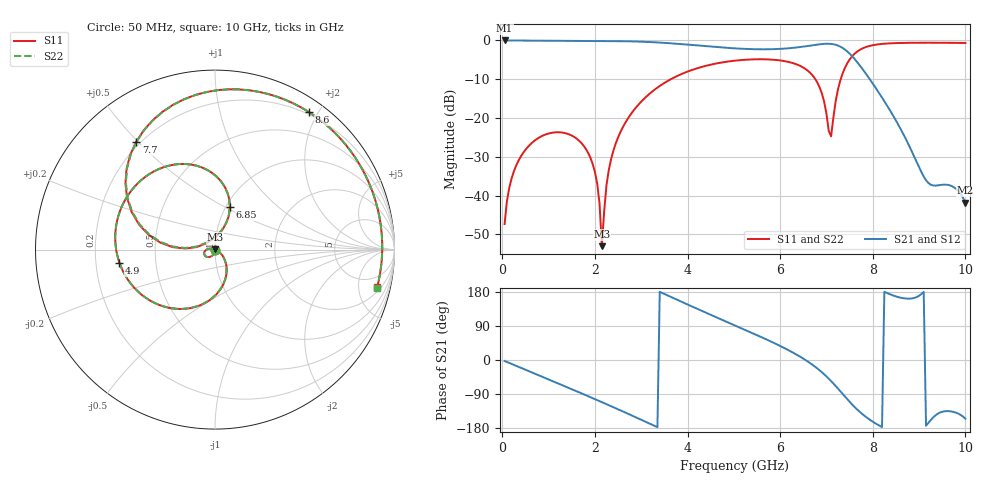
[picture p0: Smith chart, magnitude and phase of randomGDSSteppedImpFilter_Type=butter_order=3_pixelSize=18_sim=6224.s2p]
! freq	dB(S11)	phase(S11)	dB(S12)	phase(S12)
!  dB(S21)	phase(S21)	dB(S22)	phase(S22)
!S-par simulation data
#  GHz  S  DB  R 50
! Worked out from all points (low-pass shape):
!   200 points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, 50 MHz to 10 GHz, reference 50 ohm
!   highest |S21| = 0.00 dB at 50 MHz (marker M1); lowest = -41.8 dB at 10 GHz (marker M2)
!   |S21| within 3 dB of the highest: start of sweep to 7.464 GHz
!   lowest |S11| = -53.0 dB at 2.15 GHz (marker M3), VSWR 1.00, Z = 50 + j0.222 ohm
!   |S11| at or under -10 dB: start of sweep to 3.639 GHz; 6.76 GHz to 7.308 GHz (547.8 MHz wide, 7.79 % of centre)
!   |S22| runs from -55.3 to -0.6 dB; largest |S21 - S12| = 0
!   S11 on the Smith chart (normalised r, x): 50 MHz: 1.00, -0.01; 4.9 GHz: 0.30, -0.06; 6.85 GHz: 1.05, +0.53; 7.7 GHz: 0.18, +0.49; 8.6 GHz: 0.17, +1.88; 10 GHz: 2.63, -7.88
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0.05  -47.34 -90.9  -0.00 -2.6  -0.00 -2.6  -47.34 -90.9
0.2  -35.61 -99.3  -0.02 -10.3  -0.02 -10.3  -35.61 -99.2
0.6  -26.85 -121.4  -0.05 -30.8  -0.05 -30.8  -26.85 -121.3
1.75  -27.04 177.8  -0.11 -90.0  -0.11 -90.0  -27.04 178.6
2.05  -36.96 158.3  -0.12 -105.8  -0.12 -105.8  -36.99 161.7
2.1  -42.09 151.2  -0.12 -108.5  -0.12 -108.5  -42.18 157.7
2.15  -53.04 84.1  -0.13 -111.2  -0.13 -111.2  -55.27 72.7
2.25  -37.30 -21.7  -0.14 -116.5  -0.14 -116.5  -37.35 -25.9
2.45  -26.56 -36.5  -0.16 -127.3  -0.16 -127.3  -26.57 -37.9
3.4  -11.73 -90.4  -0.55 179.9  -0.55 179.9  -11.73 -90.8
4.9  -5.39 -172.1  -1.95 97.9  -1.95 97.9  -5.39 -172.3
5.05  -5.18 179.9  -2.06 89.9  -2.06 89.9  -5.18 179.7
5.95  -5.08 130.7  -2.20 40.1  -2.20 40.1  -5.08 130.6
6.7  -9.02 81.1  -1.24 -12.8  -1.24 -12.8  -9.02 81.3
6.85  -12.02 70.6  -0.99 -27.0  -0.99 -27.0  -12.01 70.9
7.1  -24.73 140.2  -0.90 -55.6  -0.90 -55.6  -24.34 139.3
7.3  -10.27 172.8  -1.60 -82.7  -1.60 -82.7  -10.25 172.0
7.7  -2.57 126.2  -6.13 -134.8  -6.13 -134.8  -2.57 125.8
8.35  -0.76 71.4  -17.60 174.5  -17.60 174.5  -0.76 71.1
8.6  -0.65 55.7  -22.80 164.4  -22.80 164.4  -0.65 55.5
9.2  -0.59 23.5  -36.73 -166.1  -36.73 -166.1  -0.59 23.3
10  -0.65 -13.0  -41.81 -154.8  -41.81 -154.8  -0.66 -13.2
